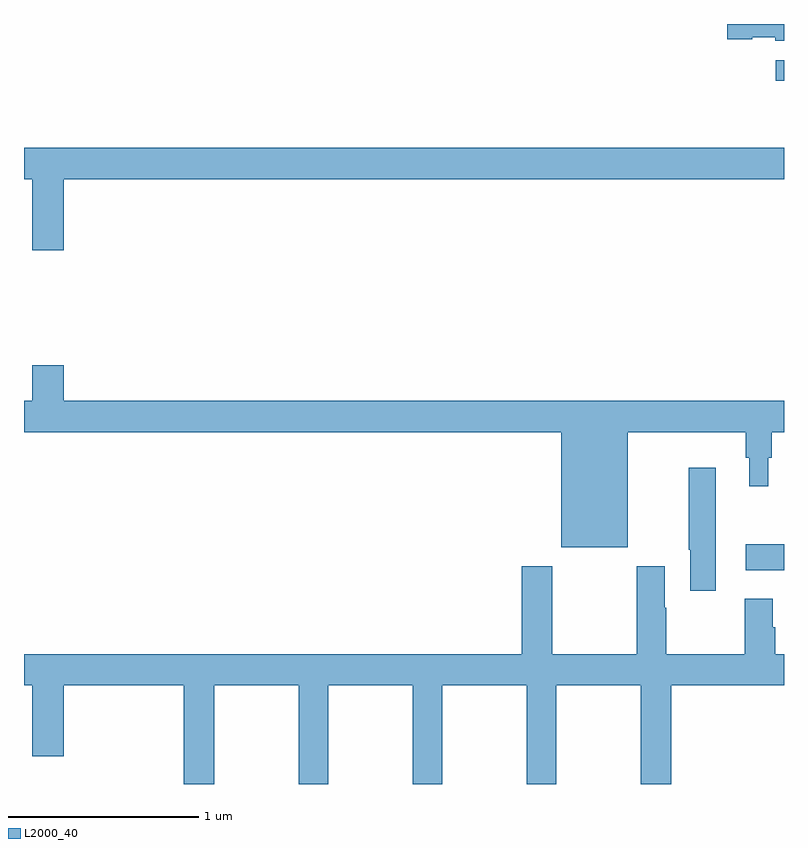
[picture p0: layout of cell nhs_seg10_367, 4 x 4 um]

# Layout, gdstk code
import gdstk
lib = gdstk.Library(unit=1e-6, precision=1e-09)
def R(c, l, rs):  # rectangles x0, y0, x1, y1
    for r in rs: c.add(gdstk.rectangle(r[:2], r[2:], *l))
def P(c, l, *ps):  # polygons
    for p in ps: c.add(gdstk.Polygon(p, *l))
L2000_40 = (2000, 40)

nhs_seg10_367 = lib.new_cell('nhs_seg10_367')
R(nhs_seg10_367, L2000_40, [(132.798,1263.626,133,1263.761), (132.957,1266.201,133,1266.309)])
P(nhs_seg10_367, L2000_40, [(133,1266.5),(132.702,1266.5),(132.702,1266.419),(132.834,1266.419),(132.834,1266.431),(132.954,1266.431),(132.954,1266.413),(133,1266.413)],
  [(129.208,1265.684),(133,1265.684),(133,1265.848),(129,1265.848),(129,1265.684),(129.044,1265.684),(129.044,1265.31),(129.208,1265.31)],
  [(132.178,1264.352),(132.799,1264.352),(132.799,1264.218),(132.818,1264.218),(132.818,1264.068),(132.916,1264.068),(132.916,1264.218),(132.935,1264.218),(132.935,1264.352),(133,1264.352),(133,1264.516),(129.208,1264.516),(129.208,1264.705),(129.044,1264.705),(129.044,1264.516),(129,1264.516),(129,1264.352),(131.828,1264.352),(131.828,1263.746),(132.178,1263.746)],
  [(132.64,1264.165),(132.499,1264.165),(132.499,1263.733),(132.506,1263.733),(132.506,1263.516),(132.64,1263.516)],
  [(130.002,1263.02),(130.447,1263.02),(130.447,1262.5),(130.602,1262.5),(130.602,1263.02),(131.047,1263.02),(131.047,1262.5),(131.202,1262.5),(131.202,1263.02),(131.647,1263.02),(131.647,1262.5),(131.802,1262.5),(131.802,1263.02),(132.247,1263.02),(132.247,1262.5),(132.407,1262.5),(132.407,1263.02),(133,1263.02),(133,1263.184),(132.953,1263.184),(132.953,1263.326),(132.94,1263.326),(132.94,1263.475),(132.793,1263.475),(132.793,1263.184),(132.381,1263.184),(132.381,1263.428),(132.373,1263.428),(132.373,1263.646),(132.226,1263.646),(132.226,1263.184),(131.781,1263.184),(131.781,1263.646),(131.621,1263.646),(131.621,1263.184),(129,1263.184),(129,1263.02),(129.044,1263.02),(129.044,1262.646),(129.208,1262.646),(129.208,1263.02),(129.842,1263.02),(129.842,1262.5),(130.002,1262.5)])

lib.write_gds('nhs_seg10_367.gds')
